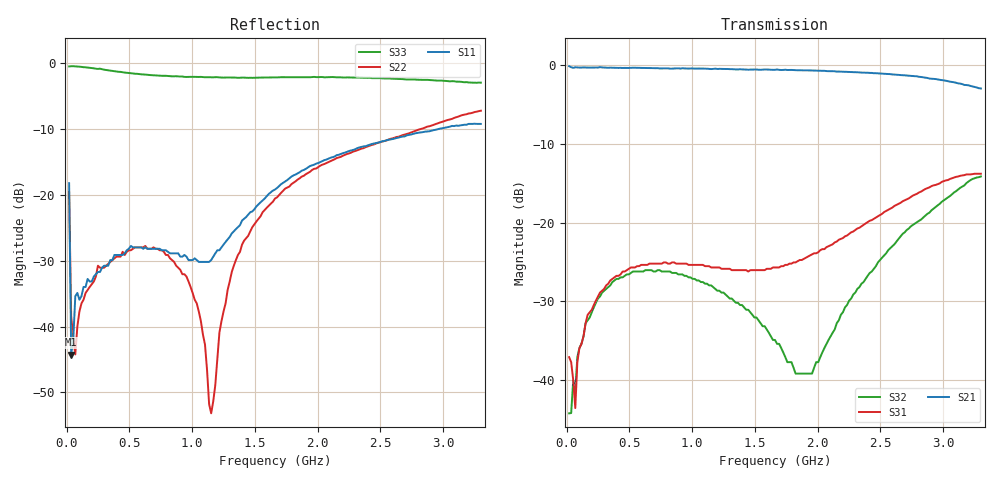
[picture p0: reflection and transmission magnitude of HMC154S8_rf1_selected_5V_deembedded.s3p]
!Hittite Microwave Corporation
!12 Elizabeth Drive
!Chelmsford, MA 01824
!Tel: 978-250-3343
!Fax: 978-250-3373
!Device: HMC154S8, DC - 2.5 GHz GaAs MMIC Low Distortion T/R Switch in 8-lead SOIC package
!Misc: Port1=RFC, Port2= RF1, Port3=RF2, RF1 ON, Bias: +5VDC
# MHZ S MA R 50
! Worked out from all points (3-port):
!   201 points, 20 MHz to 3.3 GHz, reference 50 ohm
!   strongest paths, dB at 20 MHz, 840 MHz, 1.66 GHz, 2.48 GHz, 3.3 GHz:
!     S21: -0.1, -0.4, -0.5, -1.0, -2.9
!     S31: -37.1, -25.0, -25.7, -19.2, -13.8
!     S32: -44.2, -26.4, -34.9, -25.0, -14.1
!   lowest |S11| = -44.3 dB at 36.4 MHz (marker M1), VSWR 1.01, Z = 49.6 + j0.439 ohm
!   |S11| at or under -10 dB: start of sweep to 2.957 GHz
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20  0.123 86.1  0.97 -7.8  0.001971 89.3
    0.99 -8.1  0.106 69.8  0.012 23.4
    0.014 7.5  0.00615 135.7  0.949 -7.8
36.4  0.006127 133.7  0.976 -1.9  0.006181 39.8
      0.975 -1.8  0.012 -14.1  0.011 61.4
      0.013 52.3  0.006174 -64.5  0.952 -11.5
315.2  0.029 57.6  0.969 -14.6  0.04 46.7
       0.969 -14.5  0.029 72.5  0.038 38.4
       0.04 47.1  0.038 38.3  0.891 -84.7
758  0.038 27.1  0.959 -34.1  0.055 14.1
     0.958 -34.2  0.038 44.7  0.049 -7.4
     0.055 14.1  0.049 -7.4  0.805 -162.4
1036.8  0.032 -33.2  0.955 -46.5  0.054 5.1
        0.956 -46.5  0.015 41.2  0.043 -26.9
        0.054 5.2  0.043 -26.6  0.788 166.9
1151.6  0.032 -63.6  0.952 -51.9  0.052 2.8
        0.949 -51.6  0.002191 103.2  0.039 -33.4
        0.052 3.2  0.04 -33.0  0.784 156.5
1315.6  0.051 -101.0  0.949 -59.3  0.051 2.9
        0.948 -59.2  0.026 -163.0  0.033 -39.7
        0.05 2.8  0.033 -40.0  0.781 144.0
1660  0.11 -146.4  0.939 -75.1  0.052 10.0
      0.939 -74.9  0.094 -172.5  0.018 -42.7
      0.052 10.2  0.018 -41.0  0.783 122.9
1955.2  0.168 -170.6  0.929 -89.4  0.062 16.5
        0.928 -89.2  0.155 175.6  0.011 19.5
        0.063 16.5  0.011 18.2  0.788 106.8
3300  0.347 76.3  0.713 -160.2  0.205 -37.9
      0.714 -160.3  0.437 104.3  0.196 -20.0
      0.205 -38.1  0.197 -20.0  0.714 26.8
